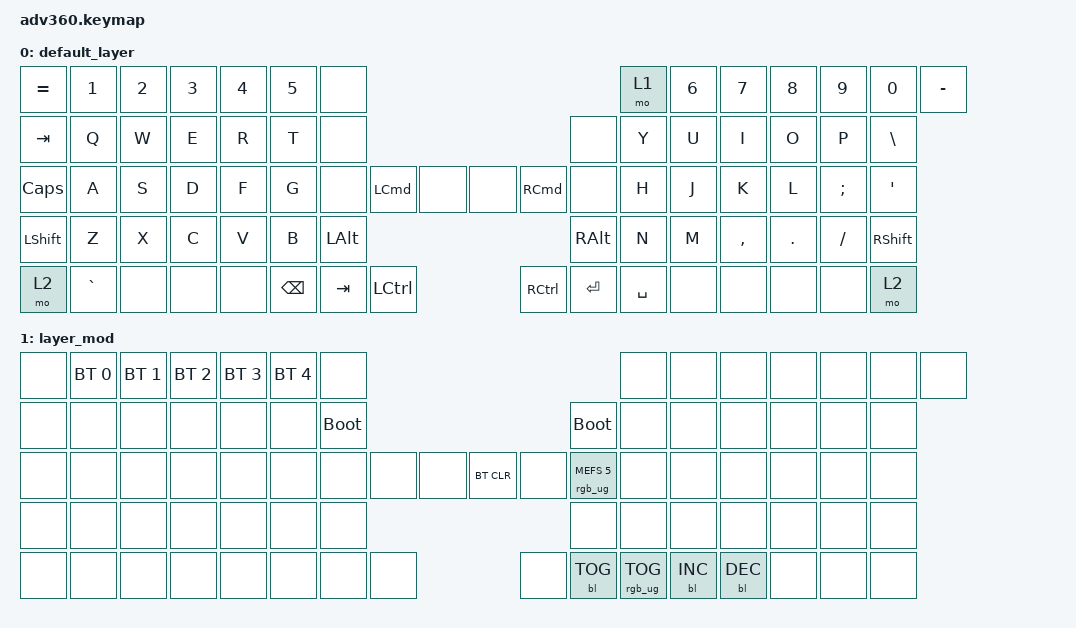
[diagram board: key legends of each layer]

/*
 * Copyright (c) 2020 The ZMK Contributors
 *
 * SPDX-License-Identifier: MIT
 */


/* THIS FILE WAS GENERATED!
 *
 * This file was generated automatically. You may or may not want to
 * edit it directly.
 */

#include <behaviors.dtsi>
#include <dt-bindings/zmk/keys.h>
#include <dt-bindings/zmk/bt.h>
#include <dt-bindings/zmk/rgb.h>
#include <dt-bindings/zmk/backlight.h>

/ {
  behaviors {
    #include "macros.dtsi"
    #include "version.dtsi"

    hm: homerow_mods {
        compatible = "zmk,behavior-hold-tap";
        label = "HOMEROW_MODS";
        #binding-cells = <2>;
        tapping-term-ms = <200>;
        quick_tap_ms = <175>;
        flavor = "tap-preferred";
        bindings = <&kp>, <&kp>;
    };
  };

    keymap {
        compatible = "zmk,keymap";


        default_layer {
            bindings = <
    &kp EQUAL     &kp N1  &kp N2  &kp N3  &kp N4  &kp N5                    &none                                                                    &mo 1  &kp N6  &kp N7     &kp N8   &kp N9         &kp N0  &kp MINUS
      &kp TAB      &kp Q   &kp W   &kp E   &kp R   &kp T                    &none                                                                    &none   &kp Y   &kp U      &kp I    &kp O          &kp P   &kp BSLH
 &kp CAPSLOCK      &kp A   &kp S   &kp D   &kp F   &kp G                    &none  &kp LCMD         &none                      &none   &kp RCMD      &none   &kp H   &kp J      &kp K    &kp L  &kp SEMICOLON    &kp SQT
    &kp LSHFT      &kp Z   &kp X   &kp C   &kp V   &kp B                                     &kp LEFT_ALT                   &kp RALT                         &kp N   &kp M  &kp COMMA  &kp DOT       &kp FSLH  &kp RSHFT
        &mo 2  &kp GRAVE   &none   &none   &none                    &kp BACKSPACE   &kp TAB     &kp LCTRL                  &kp RCTRL  &kp ENTER  &kp SPACE           &none      &none    &none          &none      &mo 2
            >;
        };

        layer_mod {
            bindings = <
  &none  &bt BT_SEL 0  &bt BT_SEL 1  &bt BT_SEL 2  &bt BT_SEL 3  &bt BT_SEL 4                  &none                                                                           &none   &none       &none       &none   &none   &none   &none
  &none         &none         &none         &none         &none         &none            &bootloader                                                                     &bootloader   &none       &none       &none   &none   &none   &none
  &none         &none         &none         &none         &none         &none                  &none   &none   &none                  &bt BT_CLR       &none  &rgb_ug RGB_MEFS_CMD 5   &none       &none       &none   &none   &none   &none
  &none         &none         &none         &none         &none         &none                                  &none                       &none                                       &none       &none       &none   &none   &none   &none
  &none         &none         &none         &none         &none                                &none   &none   &none                       &none  &bl BL_TOG         &rgb_ug RGB_TOG          &bl BL_INC  &bl BL_DEC   &none   &none   &none
            >;
        };

    };
};
